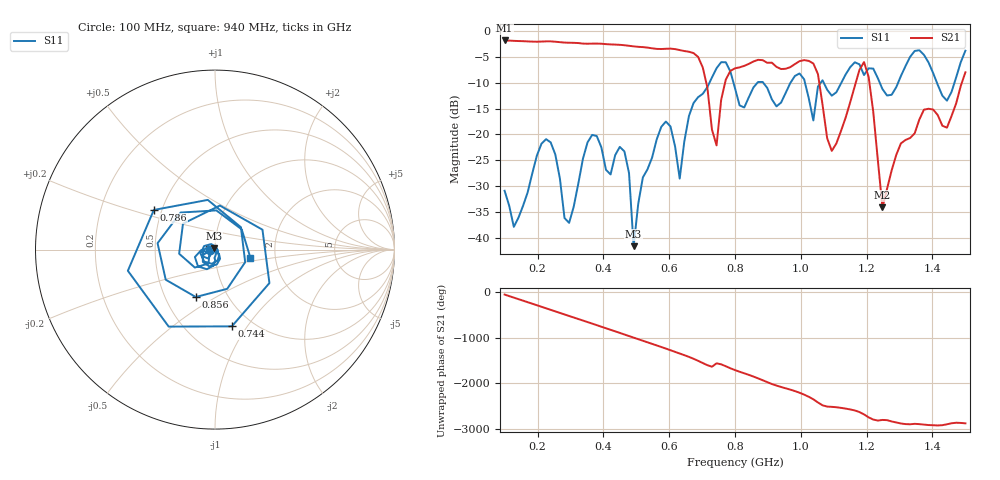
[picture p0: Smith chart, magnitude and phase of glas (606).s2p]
! NanoVNA-App
! Date: 2025-09-25 16:00:11
! Start: 100MHz Stop: 1,5GHz Points: 101
! S-Parameter data: F S11 S21 S12 S22
# Hz S RI R 50
!  Frequency  S11_Real  S11_Imag  S21_Real  S21_Imag  S12_Real  S12_Imag  S22_Real  S22_Imag
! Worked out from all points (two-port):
!   101 points, 100 MHz to 1.5 GHz, reference 50 ohm
!   highest |S21| = -1.80 dB at 100 MHz (marker M1); lowest = -34.2 dB at 1.248 GHz (marker M2)
!   |S21| within 3 dB of the highest: start of sweep to 684.3 MHz
!   lowest |S11| = -41.7 dB at 492 MHz (marker M3), VSWR 1.02, Z = 49.5 + j0.638 ohm
!   |S11| at or under -10 dB: start of sweep to 722.3 MHz; 795.4 MHz to 868 MHz (72.61 MHz wide, 8.73 % of centre); 885.9 MHz to 968.6 MHz (82.68 MHz wide, 8.92 % of centre) (the widest 3 of 7)
!   S12 and S22 are empty: the file has one direction only
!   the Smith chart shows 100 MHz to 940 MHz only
!   S11 on the Smith chart (normalised r, x): 100 MHz: 0.94, -0.01; 744 MHz: 0.81, -0.85; 786 MHz: 0.45, +0.24; 856 MHz: 0.71, -0.41; 940 MHz: 1.48, -0.15
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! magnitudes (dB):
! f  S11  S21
! 100 MHz  -30.9  -1.8
! 128 MHz  -37.9  -1.9
! 226 MHz  -20.9  -2.0
! 296 MHz  -37.2  -2.2
! 338 MHz  -24.7  -2.4
! 464 MHz  -23.3  -2.7
! 492 MHz  -41.7  -2.9
! 576 MHz  -18.5  -3.5
! 632 MHz  -28.6  -3.7
! 702 MHz  -12.2  -7.0
! 744 MHz  -7.2  -22.1
! 786 MHz  -7.8  -7.7
! 800 MHz  -11.1  -7.2
! 856 MHz  -10.9  -5.9
! 940 MHz  -13.8  -7.3
! 996 MHz  -8.2  -5.8
! 1.038 GHz  -17.3  -6.3
! 1.094 GHz  -12.5  -23.2
! 1.192 GHz  -8.5  -6.0
! 1.248 GHz  -11.2  -34.2
! 1.276 GHz  -12.3  -27.0
! 1.5 GHz  -3.8  -8.0
